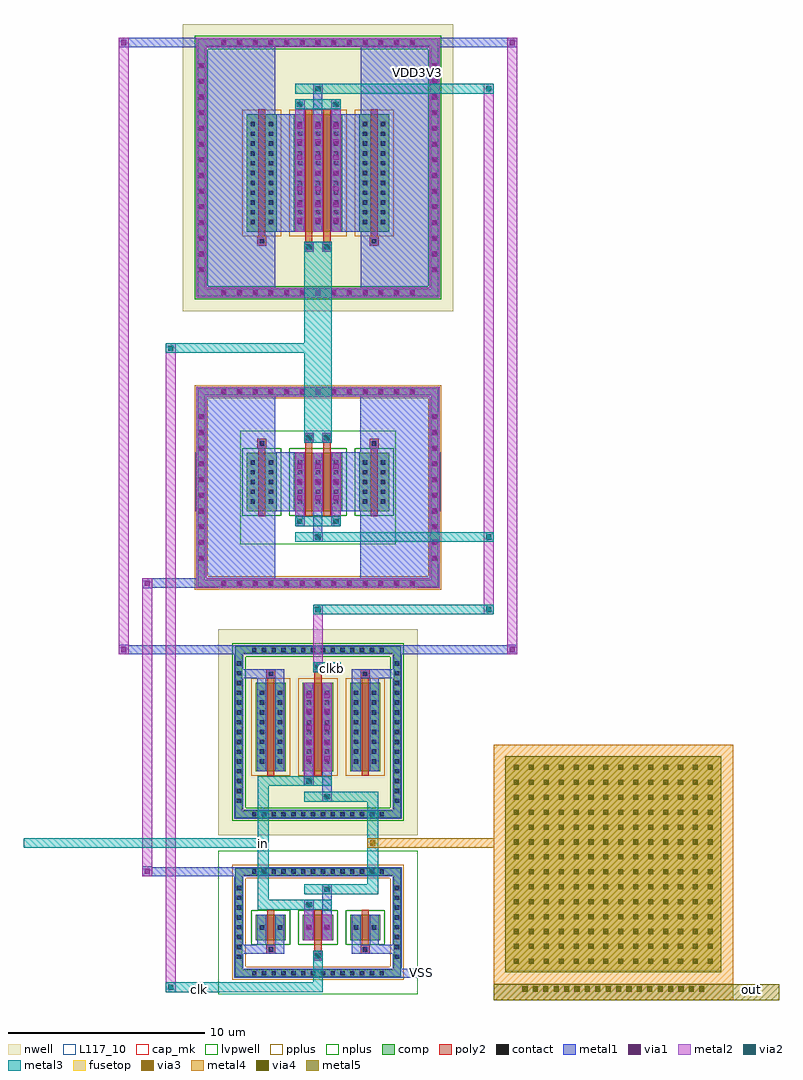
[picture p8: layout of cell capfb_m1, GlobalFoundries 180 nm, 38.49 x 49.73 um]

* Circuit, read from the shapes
.subckt capfb_m1 VDD3V3 VSS clk clkb in out
XM1 VSS VSS VSS VSS nfet_03v3 w=3u l=0.36u m=2
XM2 VSS VSS VSS VSS nfet_03v3 w=1.3u l=0.36u m=2
XM3 clkb clk VSS VSS nfet_03v3 w=3u l=0.36u m=2
XM4 out clk in VSS nfet_03v3 w=1.3u l=0.36u
XM5 VDD3V3 VDD3V3 VDD3V3 VDD3V3 pfet_03v3 w=6u l=0.36u m=2
XM6 VDD3V3 VDD3V3 VDD3V3 VDD3V3 pfet_03v3 w=4.5u l=0.36u m=2
XM7 clkb clk VDD3V3 VDD3V3 pfet_03v3 w=6u l=0.36u m=2
XM8 out clkb in VDD3V3 pfet_03v3 w=4.5u l=0.36u
XC9 n1 out cap_mim_2f0fF c_width=11u c_length=11u
.ends

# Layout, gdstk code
from math import pi, radians
import gdstk
lib = gdstk.Library(unit=1e-6, precision=5e-09)
def R(c, l, rs):  # rectangles x0, y0, x1, y1
    for r in rs: c.add(gdstk.rectangle(r[:2], r[2:], *l))
def A(c, l, x, y, w, h, nx, ny, dx, dy):  # array of equal rectangles
    R(c, l, [(x+i*dx, y+j*dy, x+i*dx+w, y+j*dy+h) for i in range(nx) for j in range(ny)])
def P(c, l, *ps):  # polygons
    for p in ps: c.add(gdstk.Polygon(p, *l))
nwell = (21, 0)
comp = (22, 0)
poly2 = (30, 0)
pplus = (31, 0)
nplus = (32, 0)
contact = (33, 0)
metal1 = (34, 0)
via1 = (35, 0)
metal2 = (36, 0)
via2 = (38, 0)
via3 = (40, 0)
via4 = (41, 0)
metal3 = (42, 0)
metal4 = (46, 0)
fusetop = (75, 0)
metal5 = (81, 0)
cap_mk = (117, 5)
L117_10 = (117, 10)
lvpwell = (204, 0)

unnamed_2a73851a_1_2 = lib.new_cell('Unnamed_2a73851a$1$2')
R(unnamed_2a73851a_1_2, nwell, [(-2.32,-4.395,2.32,4.395)])
R(unnamed_2a73851a_1_2, comp, [(-1.97,-3.275,-0.45,2.725), (0.41,-3.275,1.97,2.725)])
R(unnamed_2a73851a_1_2, poly2, [(0.96,-4.275,1.42,-3.815), (1.01,-4.225,1.37,-3.865), (-1.44,-3.975,-0.98,-3.515), (-1.39,-3.925,-1.03,-3.565), (1.01,-3.815,1.37,-3.515), (-1.39,-3.515,-1.03,2.965), (1.01,-3.515,1.37,2.965)])
R(unnamed_2a73851a_1_2, pplus, [(-2.2,-3.505,-0.22,2.955), (0.18,-3.505,2.2,2.955)])
A(unnamed_2a73851a_1_2, contact, -1.78, -2.885, 0.22, 0.22, 1, 11, 0, 0.5)
A(unnamed_2a73851a_1_2, contact, -0.86, -2.885, 0.22, 0.22, 1, 11, 0, 0.5)
A(unnamed_2a73851a_1_2, contact, 0.62, -2.885, 0.22, 0.22, 1, 11, 0, 0.5)
A(unnamed_2a73851a_1_2, contact, 1.54, -2.885, 0.22, 0.22, 1, 11, 0, 0.5)
R(unnamed_2a73851a_1_2, contact, [(1.08,-4.155,1.3,-3.935), (-1.32,-3.855,-1.1,-3.635)])
A(unnamed_2a73851a_1_2, metal1, -1.9, -3.975, 0.46, 0.46, 3, 1, 0.46, 0)
A(unnamed_2a73851a_1_2, metal1, -1.9, -3.005, 0.46, 0.46, 1, 11, 0, 0.5)
A(unnamed_2a73851a_1_2, metal1, -0.98, -3.005, 0.46, 0.46, 1, 11, 0, 0.5)
A(unnamed_2a73851a_1_2, metal1, 0.5, -3.005, 0.46, 0.46, 1, 11, 0, 0.5)
A(unnamed_2a73851a_1_2, metal1, 1.42, -3.005, 0.46, 0.46, 1, 11, 0, 0.5)
A(unnamed_2a73851a_1_2, metal1, 0.48, -2.925, 0.5, 0.5, 1, 7, 0, 0.8)
A(unnamed_2a73851a_1_2, metal1, 1.4, -2.925, 0.5, 0.5, 1, 7, 0, 0.8)
R(unnamed_2a73851a_1_2, metal1, [(0.96,-4.275,1.42,-3.815), (0.96,-4.275,1.42,-3.815), (-1.9,-3.975,-1.44,-3.275), (-0.98,-3.975,-0.52,-3.275), (-1.9,-3.275,-1.44,2.725), (-0.98,-3.275,-0.52,2.725), (0.5,-3.275,0.96,2.725), (1.42,-3.275,1.88,2.725), (0.48,-2.925,0.98,2.375), (1.4,-2.925,1.9,2.375), (0.5,2.725,0.96,3.475), (1.42,2.725,1.88,4.275), (0.48,2.975,0.98,3.475), (1.4,3.775,1.9,4.275)])
A(unnamed_2a73851a_1_2, via1, 0.6, -2.805, 0.26, 0.26, 1, 7, 0, 0.8)
A(unnamed_2a73851a_1_2, via1, 1.52, -2.805, 0.26, 0.26, 1, 7, 0, 0.8)
R(unnamed_2a73851a_1_2, via1, [(0.6,3.095,0.86,3.355), (1.52,3.895,1.78,4.155)])
A(unnamed_2a73851a_1_2, metal2, 0.48, -2.925, 0.5, 0.5, 1, 7, 0, 0.8)
A(unnamed_2a73851a_1_2, metal2, 1.4, -2.925, 0.5, 0.5, 1, 7, 0, 0.8)
R(unnamed_2a73851a_1_2, metal2, [(0.48,-3.275,0.98,2.725), (1.4,-3.275,1.9,2.725), (0.48,2.975,0.98,3.475), (1.4,3.775,1.9,4.275)])
R(unnamed_2a73851a_1_2, via2, [(0.6,3.095,0.86,3.355), (1.52,3.895,1.78,4.155)])
R(unnamed_2a73851a_1_2, metal3, [(0.48,2.975,0.98,3.475), (0.48,2.975,1.9,3.475), (0.48,3.775,1.9,4.275), (1.4,3.775,1.9,4.275)])

unnamed_f1af8ef3_1_2 = lib.new_cell('Unnamed_f1af8ef3$1$2')
R(unnamed_f1af8ef3_1_2, nwell, [(-2.32,-4.395,2.32,4.395)])
R(unnamed_f1af8ef3_1_2, comp, [(-1.97,-3.275,-0.45,2.725), (0.41,-3.275,1.97,2.725)])
R(unnamed_f1af8ef3_1_2, poly2, [(0.96,-4.275,1.42,-3.815), (1.01,-4.225,1.37,-3.865), (-1.44,-3.975,-0.98,-3.515), (-1.39,-3.925,-1.03,-3.565), (1.01,-3.815,1.37,-3.515), (-1.39,-3.515,-1.03,2.965), (1.01,-3.515,1.37,2.965)])
R(unnamed_f1af8ef3_1_2, pplus, [(-2.2,-3.505,-0.22,2.955), (0.18,-3.505,2.2,2.955)])
A(unnamed_f1af8ef3_1_2, contact, -1.78, -2.885, 0.22, 0.22, 1, 11, 0, 0.5)
A(unnamed_f1af8ef3_1_2, contact, -0.86, -2.885, 0.22, 0.22, 1, 11, 0, 0.5)
A(unnamed_f1af8ef3_1_2, contact, 0.62, -2.885, 0.22, 0.22, 1, 11, 0, 0.5)
A(unnamed_f1af8ef3_1_2, contact, 1.54, -2.885, 0.22, 0.22, 1, 11, 0, 0.5)
R(unnamed_f1af8ef3_1_2, contact, [(1.08,-4.155,1.3,-3.935), (-1.32,-3.855,-1.1,-3.635)])
A(unnamed_f1af8ef3_1_2, metal1, -1.9, -3.975, 0.46, 0.46, 3, 1, 0.46, 0)
A(unnamed_f1af8ef3_1_2, metal1, -1.9, -3.005, 0.46, 0.46, 1, 11, 0, 0.5)
A(unnamed_f1af8ef3_1_2, metal1, -0.98, -3.005, 0.46, 0.46, 1, 11, 0, 0.5)
A(unnamed_f1af8ef3_1_2, metal1, 0.5, -3.005, 0.46, 0.46, 1, 11, 0, 0.5)
A(unnamed_f1af8ef3_1_2, metal1, 1.42, -3.005, 0.46, 0.46, 1, 11, 0, 0.5)
A(unnamed_f1af8ef3_1_2, metal1, 0.48, -2.925, 0.5, 0.5, 1, 7, 0, 0.8)
A(unnamed_f1af8ef3_1_2, metal1, 1.4, -2.925, 0.5, 0.5, 1, 7, 0, 0.8)
R(unnamed_f1af8ef3_1_2, metal1, [(0.96,-4.275,1.42,-3.815), (0.96,-4.275,1.42,-3.815), (-1.9,-3.975,-1.44,-3.275), (-0.98,-3.975,-0.52,-3.275), (-1.9,-3.275,-1.44,2.725), (-0.98,-3.275,-0.52,2.725), (0.5,-3.275,0.96,2.725), (1.42,-3.275,1.88,2.725), (0.48,-2.925,0.98,2.375), (1.4,-2.925,1.9,2.375), (0.5,2.725,0.96,3.475), (1.42,2.725,1.88,4.275), (0.48,2.975,0.98,3.475), (1.4,3.775,1.9,4.275)])
A(unnamed_f1af8ef3_1_2, via1, 0.6, -2.805, 0.26, 0.26, 1, 7, 0, 0.8)
A(unnamed_f1af8ef3_1_2, via1, 1.52, -2.805, 0.26, 0.26, 1, 7, 0, 0.8)
R(unnamed_f1af8ef3_1_2, via1, [(0.6,3.095,0.86,3.355), (1.52,3.895,1.78,4.155)])
A(unnamed_f1af8ef3_1_2, metal2, 0.48, -2.925, 0.5, 0.5, 1, 7, 0, 0.8)
A(unnamed_f1af8ef3_1_2, metal2, 1.4, -2.925, 0.5, 0.5, 1, 7, 0, 0.8)
R(unnamed_f1af8ef3_1_2, metal2, [(0.48,-3.275,0.98,2.725), (1.4,-3.275,1.9,2.725), (0.48,2.975,0.98,3.475), (1.4,3.775,1.9,4.275)])
R(unnamed_f1af8ef3_1_2, via2, [(0.6,3.095,0.86,3.355), (1.52,3.895,1.78,4.155)])
R(unnamed_f1af8ef3_1_2, metal3, [(0.48,2.975,0.98,3.475), (0.48,2.975,1.9,3.475), (0.48,3.775,1.9,4.275), (1.4,3.775,1.9,4.275)])

unnamed_ead98f9a_1_2 = lib.new_cell('Unnamed_ead98f9a$1$2')
R(unnamed_ead98f9a_1_2, comp, [(-1.97,-1.775,-0.45,1.225), (0.41,-1.775,1.97,1.225)])
R(unnamed_ead98f9a_1_2, poly2, [(0.96,-2.775,1.42,-2.315), (1.01,-2.725,1.37,-2.365), (-1.44,-2.475,-0.98,-2.015), (-1.39,-2.425,-1.03,-2.065), (1.01,-2.315,1.37,-2.015), (-1.39,-2.015,-1.03,1.465), (1.01,-2.015,1.37,1.465)])
R(unnamed_ead98f9a_1_2, nplus, [(-2.2,-2.005,-0.22,1.455), (0.18,-2.005,2.2,1.455)])
A(unnamed_ead98f9a_1_2, contact, -1.78, -1.385, 0.22, 0.22, 1, 5, 0, 0.5)
A(unnamed_ead98f9a_1_2, contact, -0.86, -1.385, 0.22, 0.22, 1, 5, 0, 0.5)
A(unnamed_ead98f9a_1_2, contact, 0.62, -1.385, 0.22, 0.22, 1, 5, 0, 0.5)
A(unnamed_ead98f9a_1_2, contact, 1.54, -1.385, 0.22, 0.22, 1, 5, 0, 0.5)
R(unnamed_ead98f9a_1_2, contact, [(1.08,-2.655,1.3,-2.435), (-1.32,-2.355,-1.1,-2.135)])
A(unnamed_ead98f9a_1_2, metal1, -1.9, -2.475, 0.46, 0.46, 3, 1, 0.46, 0)
A(unnamed_ead98f9a_1_2, metal1, -1.9, -1.505, 0.46, 0.46, 1, 5, 0, 0.5)
A(unnamed_ead98f9a_1_2, metal1, -0.98, -1.505, 0.46, 0.46, 1, 5, 0, 0.5)
A(unnamed_ead98f9a_1_2, metal1, 0.5, -1.505, 0.46, 0.46, 1, 5, 0, 0.5)
A(unnamed_ead98f9a_1_2, metal1, 1.42, -1.505, 0.46, 0.46, 1, 5, 0, 0.5)
A(unnamed_ead98f9a_1_2, metal1, 0.48, -1.325, 0.5, 0.5, 1, 3, 0, 0.8)
A(unnamed_ead98f9a_1_2, metal1, 1.4, -1.325, 0.5, 0.5, 1, 3, 0, 0.8)
R(unnamed_ead98f9a_1_2, metal1, [(0.96,-2.775,1.42,-2.315), (0.96,-2.775,1.42,-2.315), (-1.9,-2.475,-1.44,-1.775), (-0.98,-2.475,-0.52,-1.775), (-1.9,-1.775,-1.44,1.225), (-0.98,-1.775,-0.52,1.225), (0.5,-1.775,0.96,1.225), (1.42,-1.775,1.88,1.225), (0.48,-1.325,0.98,0.775), (1.4,-1.325,1.9,0.775), (0.5,1.225,0.96,1.975), (1.42,1.225,1.88,2.775), (0.48,1.475,0.98,1.975), (1.4,2.275,1.9,2.775)])
A(unnamed_ead98f9a_1_2, via1, 0.6, -1.205, 0.26, 0.26, 1, 3, 0, 0.8)
A(unnamed_ead98f9a_1_2, via1, 1.52, -1.205, 0.26, 0.26, 1, 3, 0, 0.8)
R(unnamed_ead98f9a_1_2, via1, [(0.6,1.595,0.86,1.855), (1.52,2.395,1.78,2.655)])
A(unnamed_ead98f9a_1_2, metal2, 0.48, -1.325, 0.5, 0.5, 1, 3, 0, 0.8)
A(unnamed_ead98f9a_1_2, metal2, 1.4, -1.325, 0.5, 0.5, 1, 3, 0, 0.8)
R(unnamed_ead98f9a_1_2, metal2, [(0.48,-1.775,0.98,1.225), (1.4,-1.775,1.9,1.225), (0.48,1.475,0.98,1.975), (1.4,2.275,1.9,2.775)])
R(unnamed_ead98f9a_1_2, via2, [(0.6,1.595,0.86,1.855), (1.52,2.395,1.78,2.655)])
R(unnamed_ead98f9a_1_2, metal3, [(0.48,1.475,0.98,1.975), (0.48,1.475,1.9,1.975), (0.48,2.275,1.9,2.775), (1.4,2.275,1.9,2.775)])
R(unnamed_ead98f9a_1_2, lvpwell, [(-2.32,-2.895,2.32,2.895)])

unnamed_11e8e328_1_2 = lib.new_cell('Unnamed_11e8e328$1$2')
R(unnamed_11e8e328_1_2, comp, [(-1.97,-1.775,-0.45,1.225), (0.41,-1.775,1.97,1.225)])
R(unnamed_11e8e328_1_2, poly2, [(0.96,-2.775,1.42,-2.315), (1.01,-2.725,1.37,-2.365), (-1.44,-2.475,-0.98,-2.015), (-1.39,-2.425,-1.03,-2.065), (1.01,-2.315,1.37,-2.015), (-1.39,-2.015,-1.03,1.465), (1.01,-2.015,1.37,1.465)])
R(unnamed_11e8e328_1_2, nplus, [(-2.2,-2.005,-0.22,1.455), (0.18,-2.005,2.2,1.455)])
A(unnamed_11e8e328_1_2, contact, -1.78, -1.385, 0.22, 0.22, 1, 5, 0, 0.5)
A(unnamed_11e8e328_1_2, contact, -0.86, -1.385, 0.22, 0.22, 1, 5, 0, 0.5)
A(unnamed_11e8e328_1_2, contact, 0.62, -1.385, 0.22, 0.22, 1, 5, 0, 0.5)
A(unnamed_11e8e328_1_2, contact, 1.54, -1.385, 0.22, 0.22, 1, 5, 0, 0.5)
R(unnamed_11e8e328_1_2, contact, [(1.08,-2.655,1.3,-2.435), (-1.32,-2.355,-1.1,-2.135)])
A(unnamed_11e8e328_1_2, metal1, -1.9, -2.475, 0.46, 0.46, 3, 1, 0.46, 0)
A(unnamed_11e8e328_1_2, metal1, -1.9, -1.505, 0.46, 0.46, 1, 5, 0, 0.5)
A(unnamed_11e8e328_1_2, metal1, -0.98, -1.505, 0.46, 0.46, 1, 5, 0, 0.5)
A(unnamed_11e8e328_1_2, metal1, 0.5, -1.505, 0.46, 0.46, 1, 5, 0, 0.5)
A(unnamed_11e8e328_1_2, metal1, 1.42, -1.505, 0.46, 0.46, 1, 5, 0, 0.5)
A(unnamed_11e8e328_1_2, metal1, 0.48, -1.325, 0.5, 0.5, 1, 3, 0, 0.8)
A(unnamed_11e8e328_1_2, metal1, 1.4, -1.325, 0.5, 0.5, 1, 3, 0, 0.8)
R(unnamed_11e8e328_1_2, metal1, [(0.96,-2.775,1.42,-2.315), (0.96,-2.775,1.42,-2.315), (-1.9,-2.475,-1.44,-1.775), (-0.98,-2.475,-0.52,-1.775), (-1.9,-1.775,-1.44,1.225), (-0.98,-1.775,-0.52,1.225), (0.5,-1.775,0.96,1.225), (1.42,-1.775,1.88,1.225), (0.48,-1.325,0.98,0.775), (1.4,-1.325,1.9,0.775), (0.5,1.225,0.96,1.975), (1.42,1.225,1.88,2.775), (0.48,1.475,0.98,1.975), (1.4,2.275,1.9,2.775)])
A(unnamed_11e8e328_1_2, via1, 0.6, -1.205, 0.26, 0.26, 1, 3, 0, 0.8)
A(unnamed_11e8e328_1_2, via1, 1.52, -1.205, 0.26, 0.26, 1, 3, 0, 0.8)
R(unnamed_11e8e328_1_2, via1, [(0.6,1.595,0.86,1.855), (1.52,2.395,1.78,2.655)])
A(unnamed_11e8e328_1_2, metal2, 0.48, -1.325, 0.5, 0.5, 1, 3, 0, 0.8)
A(unnamed_11e8e328_1_2, metal2, 1.4, -1.325, 0.5, 0.5, 1, 3, 0, 0.8)
R(unnamed_11e8e328_1_2, metal2, [(0.48,-1.775,0.98,1.225), (1.4,-1.775,1.9,1.225), (0.48,1.475,0.98,1.975), (1.4,2.275,1.9,2.775)])
R(unnamed_11e8e328_1_2, via2, [(0.6,1.595,0.86,1.855), (1.52,2.395,1.78,2.655)])
R(unnamed_11e8e328_1_2, metal3, [(0.48,1.475,0.98,1.975), (0.48,1.475,1.9,1.975), (0.48,2.275,1.9,2.775), (1.4,2.275,1.9,2.775)])
R(unnamed_11e8e328_1_2, lvpwell, [(-2.32,-2.895,2.32,2.895)])

unnamed_a559eeb2_1_1_2 = lib.new_cell('Unnamed_a559eeb2$1$1$2')
A(unnamed_a559eeb2_1_1_2, comp, -4.98, -6.555, 0.36, 0.36, 13, 2, 0.8, 12.75)
A(unnamed_a559eeb2_1_1_2, comp, -6.13, -5.38, 0.36, 0.36, 1, 14, 0, 0.8)
A(unnamed_a559eeb2_1_1_2, comp, 5.77, -5.38, 0.36, 0.36, 1, 14, 0, 0.8)
R(unnamed_a559eeb2_1_1_2, comp, [(-4.98,-6.555,4.98,-6.195), (-6.13,-5.38,-5.77,5.38), (5.77,-5.38,6.13,5.38), (-4.98,6.195,4.98,6.555)])
P(unnamed_a559eeb2_1_1_2, comp, [(-6.13,-6.555),(-6.13,-6.195),(-5.77,-6.195),(5.77,-6.195),(5.77,6.195),(-5.77,6.195),(-5.77,-6.195),(-6.13,-6.195),(-6.13,6.555),(6.13,6.555),(6.13,-6.555)])
P(unnamed_a559eeb2_1_1_2, nplus, [(-6.29,-6.715),(-6.29,-6.035),(-5.61,-6.035),(5.61,-6.035),(5.61,6.035),(-5.61,6.035),(-5.61,-6.035),(-6.29,-6.035),(-6.29,6.715),(6.29,6.715),(6.29,-6.715)])
A(unnamed_a559eeb2_1_1_2, contact, -4.91, -6.485, 0.22, 0.22, 13, 2, 0.8, 12.75)
A(unnamed_a559eeb2_1_1_2, contact, -6.06, -5.31, 0.22, 0.22, 1, 14, 0, 0.8)
A(unnamed_a559eeb2_1_1_2, contact, 5.84, -5.31, 0.22, 0.22, 1, 14, 0, 0.8)
A(unnamed_a559eeb2_1_1_2, metal1, -5.05, -6.625, 0.5, 0.5, 13, 2, 0.8, 12.75)
A(unnamed_a559eeb2_1_1_2, metal1, -6.2, -5.45, 0.5, 0.5, 1, 14, 0, 0.8)
A(unnamed_a559eeb2_1_1_2, metal1, 5.7, -5.45, 0.5, 0.5, 1, 14, 0, 0.8)
R(unnamed_a559eeb2_1_1_2, metal1, [(-5.05,-6.625,5.05,-6.125), (-6.2,-5.45,-5.7,5.45), (5.7,-5.45,6.2,5.45), (-5.05,6.125,5.05,6.625)])
A(unnamed_a559eeb2_1_1_2, via1, -4.93, -6.505, 0.26, 0.26, 13, 2, 0.8, 12.75)
A(unnamed_a559eeb2_1_1_2, via1, -6.08, -5.33, 0.26, 0.26, 1, 14, 0, 0.8)
A(unnamed_a559eeb2_1_1_2, via1, 5.82, -5.33, 0.26, 0.26, 1, 14, 0, 0.8)
A(unnamed_a559eeb2_1_1_2, metal2, -5.05, -6.625, 0.5, 0.5, 13, 2, 0.8, 12.75)
A(unnamed_a559eeb2_1_1_2, metal2, -6.2, -5.45, 0.5, 0.5, 1, 14, 0, 0.8)
A(unnamed_a559eeb2_1_1_2, metal2, 5.7, -5.45, 0.5, 0.5, 1, 14, 0, 0.8)
R(unnamed_a559eeb2_1_1_2, metal2, [(-6.2,-6.625,-5.77,-6.125), (-6.2,-6.625,-5.7,-6.195), (-5.77,-6.625,5.77,-6.125), (5.7,-6.625,6.2,-6.195), (5.77,-6.625,6.2,-6.125), (-6.2,-6.195,-5.7,6.195), (5.7,-6.195,6.2,6.195), (-6.2,6.125,-5.77,6.625), (-5.77,6.125,5.77,6.625), (5.77,6.125,6.2,6.625), (-6.2,6.195,-5.7,6.625), (5.7,6.195,6.2,6.625)])

unnamed_ba294454_1_1_2 = lib.new_cell('Unnamed_ba294454$1$1$2')
A(unnamed_ba294454_1_1_2, comp, -4.98, -5.055, 0.36, 0.36, 13, 2, 0.8, 9.75)
A(unnamed_ba294454_1_1_2, comp, -6.13, -3.78, 0.36, 0.36, 1, 10, 0, 0.8)
A(unnamed_ba294454_1_1_2, comp, 5.77, -3.78, 0.36, 0.36, 1, 10, 0, 0.8)
R(unnamed_ba294454_1_1_2, comp, [(-4.98,-5.055,4.98,-4.695), (-6.13,-3.78,-5.77,3.78), (5.77,-3.78,6.13,3.78), (-4.98,4.695,4.98,5.055)])
P(unnamed_ba294454_1_1_2, comp, [(-6.13,-5.055),(-6.13,-4.695),(-5.77,-4.695),(5.77,-4.695),(5.77,4.695),(-5.77,4.695),(-5.77,-4.695),(-6.13,-4.695),(-6.13,5.055),(6.13,5.055),(6.13,-5.055)])
P(unnamed_ba294454_1_1_2, pplus, [(-6.29,-5.215),(-6.29,-4.535),(-5.61,-4.535),(5.61,-4.535),(5.61,4.535),(-5.61,4.535),(-5.61,-4.535),(-6.29,-4.535),(-6.29,5.215),(6.29,5.215),(6.29,-5.215)])
A(unnamed_ba294454_1_1_2, contact, -4.91, -4.985, 0.22, 0.22, 13, 2, 0.8, 9.75)
A(unnamed_ba294454_1_1_2, contact, -6.06, -3.71, 0.22, 0.22, 1, 10, 0, 0.8)
A(unnamed_ba294454_1_1_2, contact, 5.84, -3.71, 0.22, 0.22, 1, 10, 0, 0.8)
A(unnamed_ba294454_1_1_2, metal1, -5.05, -5.125, 0.5, 0.5, 13, 2, 0.8, 9.75)
A(unnamed_ba294454_1_1_2, metal1, -6.2, -3.85, 0.5, 0.5, 1, 10, 0, 0.8)
A(unnamed_ba294454_1_1_2, metal1, 5.7, -3.85, 0.5, 0.5, 1, 10, 0, 0.8)
R(unnamed_ba294454_1_1_2, metal1, [(-5.05,-5.125,5.05,-4.625), (-6.2,-3.85,-5.7,3.85), (5.7,-3.85,6.2,3.85), (-5.05,4.625,5.05,5.125)])
A(unnamed_ba294454_1_1_2, via1, -4.93, -5.005, 0.26, 0.26, 13, 2, 0.8, 9.75)
A(unnamed_ba294454_1_1_2, via1, -6.08, -3.73, 0.26, 0.26, 1, 10, 0, 0.8)
A(unnamed_ba294454_1_1_2, via1, 5.82, -3.73, 0.26, 0.26, 1, 10, 0, 0.8)
A(unnamed_ba294454_1_1_2, metal2, -5.05, -5.125, 0.5, 0.5, 13, 2, 0.8, 9.75)
A(unnamed_ba294454_1_1_2, metal2, -6.2, -3.85, 0.5, 0.5, 1, 10, 0, 0.8)
A(unnamed_ba294454_1_1_2, metal2, 5.7, -3.85, 0.5, 0.5, 1, 10, 0, 0.8)
R(unnamed_ba294454_1_1_2, metal2, [(-6.2,-5.125,-5.77,-4.625), (-6.2,-5.125,-5.7,-4.695), (-5.77,-5.125,5.77,-4.625), (5.7,-5.125,6.2,-4.695), (5.77,-5.125,6.2,-4.625), (-6.2,-4.695,-5.7,4.695), (5.7,-4.695,6.2,4.695), (-6.2,4.625,-5.77,5.125), (-5.77,4.625,5.77,5.125), (5.77,4.625,6.2,5.125), (-6.2,4.695,-5.7,5.125), (5.7,4.695,6.2,5.125)])

straight_route_bff6138e_ = lib.new_cell('straight_route_bff6138e$4$1$2')
P(straight_route_bff6138e_, metal1, [(0.96,-4.275),(0.96,-4.275),(1.42,-4.275),(1.42,-4.275)])

c_route_7e4f65a3_1_1_2 = lib.new_cell('c_route_7e4f65a3$1$1$2')
R(c_route_7e4f65a3_1_1_2, metal2, [(10.1,-19.065,10.6,-18.565), (10.1,-19.065,10.6,4.275), (10.1,3.775,10.6,4.275)])
P(c_route_7e4f65a3_1_1_2, metal2, [(10.6,-19.065),(10.6,-18.565),(10.6,-18.565),(10.6,-19.065)],
  [(10.6,3.775),(10.6,4.275),(10.6,4.275),(10.6,3.775)])
R(c_route_7e4f65a3_1_1_2, via2, [(10.22,-18.945,10.48,-18.685), (10.22,3.895,10.48,4.155)])
R(c_route_7e4f65a3_1_1_2, metal3, [(1.9,-19.065,10.6,-18.565), (10.1,-19.065,10.6,-18.565), (1.9,3.775,10.6,4.275), (10.1,3.775,10.6,4.275)])

straight_route_e266139e_ = lib.new_cell('straight_route_e266139e$2$1$2')
R(straight_route_e266139e_, metal1, [(1.86,-14.015,2.36,-13.515), (1.86,-4.275,2.36,-3.775)])
R(straight_route_e266139e_, via1, [(1.98,-13.895,2.24,-13.635), (1.98,-4.155,2.24,-3.895)])
R(straight_route_e266139e_, metal2, [(1.86,-14.015,2.36,-13.515), (1.86,-4.275,2.36,-3.775)])
R(straight_route_e266139e_, via2, [(1.98,-13.895,2.24,-13.635), (1.98,-4.155,2.24,-3.895)])
R(straight_route_e266139e_, metal3, [(1.86,-14.015,2.36,-13.515), (1.88,-13.515,2.34,-4.275), (1.86,-4.275,2.36,-3.775)])

straight_route_f31ed6b7_ = lib.new_cell('straight_route_f31ed6b7$2$1$2')
R(straight_route_f31ed6b7_, metal1, [(0.94,-14.015,1.44,-13.515), (0.94,-4.275,1.44,-3.775)])
R(straight_route_f31ed6b7_, via1, [(1.06,-13.895,1.32,-13.635), (1.06,-4.155,1.32,-3.895)])
R(straight_route_f31ed6b7_, metal2, [(0.94,-14.015,1.44,-13.515), (0.94,-4.275,1.44,-3.775)])
R(straight_route_f31ed6b7_, via2, [(1.06,-13.895,1.32,-13.635), (1.06,-4.155,1.32,-3.895)])
R(straight_route_f31ed6b7_, metal3, [(0.94,-14.015,1.44,-13.515), (0.96,-13.515,1.42,-4.275), (0.94,-4.275,1.44,-3.775)])

unnamed_5acb1a93_1_2 = lib.new_cell('Unnamed_5acb1a93$1$2')
R(unnamed_5acb1a93_1_2, nwell, [(-4.49,-4.645,4.49,4.645)])
A(unnamed_5acb1a93_1_2, comp, -3.43, -4.365, 0.36, 0.36, 14, 2, 0.5, 8.37)
A(unnamed_5acb1a93_1_2, comp, -4.21, -3.68, 0.36, 0.36, 1, 15, 0, 0.5)
A(unnamed_5acb1a93_1_2, comp, 3.85, -3.68, 0.36, 0.36, 1, 15, 0, 0.5)
R(unnamed_5acb1a93_1_2, comp, [(-3.43,-4.365,3.43,-4.005), (-4.21,-3.68,-3.85,3.68), (3.85,-3.68,4.21,3.68), (-3.16,-2.505,-1.64,1.995), (-0.78,-2.505,0.78,1.995), (1.64,-2.505,3.16,1.995), (-3.43,4.005,3.43,4.365)])
P(unnamed_5acb1a93_1_2, comp, [(-4.21,-4.365),(-4.21,-4.005),(-3.85,-4.005),(3.85,-4.005),(3.85,4.005),(-3.85,4.005),(-3.85,-4.005),(-4.21,-4.005),(-4.21,4.365),(4.21,4.365),(4.21,-4.365)])
A(unnamed_5acb1a93_1_2, poly2, -2.58, -2.745, 0.36, 4.98, 3, 1, 2.4, 0)
R(unnamed_5acb1a93_1_2, poly2, [(-0.25,-3.545,0.25,-3.045), (-0.18,-3.475,0.18,-3.115), (-2.63,-3.205,-2.17,-2.745), (2.17,-3.205,2.63,-2.745), (-2.58,-3.155,-2.22,-2.795), (2.22,-3.155,2.58,-2.795), (-0.18,-3.045,0.18,-2.745)])
R(unnamed_5acb1a93_1_2, pplus, [(-3.39,-2.735,-1.41,2.225), (-1.01,-2.735,1.01,2.225), (1.41,-2.735,3.39,2.225)])
P(unnamed_5acb1a93_1_2, nplus, [(-4.37,-4.525),(-4.37,-3.845),(-3.69,-3.845),(3.69,-3.845),(3.69,3.845),(-3.69,3.845),(-3.69,-3.845),(-4.37,-3.845),(-4.37,4.525),(4.37,4.525),(4.37,-4.525)])
A(unnamed_5acb1a93_1_2, contact, -3.36, -4.295, 0.22, 0.22, 14, 2, 0.5, 8.37)
A(unnamed_5acb1a93_1_2, contact, -4.14, -3.61, 0.22, 0.22, 1, 15, 0, 0.5)
A(unnamed_5acb1a93_1_2, contact, 3.92, -3.61, 0.22, 0.22, 1, 15, 0, 0.5)
A(unnamed_5acb1a93_1_2, contact, -2.97, -2.115, 0.22, 0.22, 1, 8, 0, 0.5)
A(unnamed_5acb1a93_1_2, contact, -2.05, -2.115, 0.22, 0.22, 1, 8, 0, 0.5)
A(unnamed_5acb1a93_1_2, contact, -0.57, -2.115, 0.22, 0.22, 1, 8, 0, 0.5)
A(unnamed_5acb1a93_1_2, contact, 0.35, -2.115, 0.22, 0.22, 1, 8, 0, 0.5)
A(unnamed_5acb1a93_1_2, contact, 1.83, -2.115, 0.22, 0.22, 1, 8, 0, 0.5)
A(unnamed_5acb1a93_1_2, contact, 2.75, -2.115, 0.22, 0.22, 1, 8, 0, 0.5)
R(unnamed_5acb1a93_1_2, contact, [(-0.11,-3.405,0.11,-3.185), (-2.51,-3.085,-2.29,-2.865), (2.29,-3.085,2.51,-2.865)])
A(unnamed_5acb1a93_1_2, metal1, -3.48, -4.415, 0.46, 0.46, 14, 2, 0.5, 8.37)
A(unnamed_5acb1a93_1_2, metal1, -4.26, -3.73, 0.46, 0.46, 1, 15, 0, 0.5)
A(unnamed_5acb1a93_1_2, metal1, 3.8, -3.73, 0.46, 0.46, 1, 15, 0, 0.5)
A(unnamed_5acb1a93_1_2, metal1, -3.09, -3.205, 0.46, 0.46, 3, 1, 0.46, 0)
A(unnamed_5acb1a93_1_2, metal1, 1.71, -3.205, 0.46, 0.46, 3, 1, 0.46, 0)
A(unnamed_5acb1a93_1_2, metal1, -3.09, -2.235, 0.46, 0.46, 1, 8, 0, 0.5)
A(unnamed_5acb1a93_1_2, metal1, -2.17, -2.235, 0.46, 0.46, 1, 8, 0, 0.5)
A(unnamed_5acb1a93_1_2, metal1, -0.69, -2.235, 0.46, 0.46, 1, 8, 0, 0.5)
A(unnamed_5acb1a93_1_2, metal1, 0.23, -2.235, 0.46, 0.46, 1, 8, 0, 0.5)
A(unnamed_5acb1a93_1_2, metal1, 1.71, -2.235, 0.46, 0.46, 1, 8, 0, 0.5)
A(unnamed_5acb1a93_1_2, metal1, 2.63, -2.235, 0.46, 0.46, 1, 8, 0, 0.5)
A(unnamed_5acb1a93_1_2, metal1, -0.71, -2.105, 0.5, 0.5, 1, 5, 0, 0.8)
A(unnamed_5acb1a93_1_2, metal1, 0.21, -2.105, 0.5, 0.5, 1, 5, 0, 0.8)
R(unnamed_5acb1a93_1_2, metal1, [(-4.26,-4.415,-3.85,-3.955), (-4.26,-4.415,-3.8,-4.005), (-3.85,-4.415,3.85,-3.955), (3.8,-4.415,4.26,-4.005), (3.85,-4.415,4.26,-3.955), (-4.26,-4.005,-3.8,4.005), (3.8,-4.005,4.26,4.005), (-0.25,-3.545,0.25,-3.045), (-4.26,-3.205,-2.63,-2.745), (-3.09,-3.205,-2.63,-2.505), (-2.17,-3.205,-1.71,-2.505), (1.71,-3.205,2.17,-2.505), (2.17,-3.205,4.26,-2.745), (2.63,-3.205,3.09,-2.505), (-3.09,-2.505,-2.63,1.995), (-2.17,-2.505,-1.71,1.995), (-0.69,-2.505,-0.23,1.995), (0.23,-2.505,0.69,1.995), (1.71,-2.505,2.17,1.995), (2.63,-2.505,3.09,1.995), (-0.71,-2.105,-0.21,1.595), (0.21,-2.105,0.71,1.595), (-0.69,1.995,-0.23,2.745), (0.23,1.995,0.69,3.545), (-0.71,2.245,-0.21,2.745), (0.21,3.045,0.71,3.545), (-4.26,3.955,-3.85,4.415), (-3.85,3.955,3.85,4.415), (3.85,3.955,4.26,4.415), (-4.26,4.005,-3.8,4.415), (3.8,4.005,4.26,4.415)])
A(unnamed_5acb1a93_1_2, via1, -0.59, -1.985, 0.26, 0.26, 1, 5, 0, 0.8)
A(unnamed_5acb1a93_1_2, via1, 0.33, -1.985, 0.26, 0.26, 1, 5, 0, 0.8)
R(unnamed_5acb1a93_1_2, via1, [(-0.13,-3.425,0.13,-3.165), (-0.59,2.365,-0.33,2.625), (0.33,3.165,0.59,3.425)])
A(unnamed_5acb1a93_1_2, metal2, -0.71, -2.105, 0.5, 0.5, 1, 5, 0, 0.8)
A(unnamed_5acb1a93_1_2, metal2, 0.21, -2.105, 0.5, 0.5, 1, 5, 0, 0.8)
R(unnamed_5acb1a93_1_2, metal2, [(-0.25,-3.545,0.25,-3.045), (-0.71,-2.505,-0.21,1.995), (0.21,-2.505,0.71,1.995), (-0.71,2.245,-0.21,2.745), (0.21,3.045,0.71,3.545)])
R(unnamed_5acb1a93_1_2, via2, [(-0.13,-3.425,0.13,-3.165), (-0.59,2.365,-0.33,2.625), (0.33,3.165,0.59,3.425)])
R(unnamed_5acb1a93_1_2, metal3, [(-0.25,-3.545,0.25,-3.045), (-0.25,-3.545,0.25,-3.045), (-0.71,2.245,-0.21,2.745), (-0.71,2.245,0.71,2.745), (-0.71,3.045,0.71,3.545), (0.21,3.045,0.71,3.545)])

unnamed_6f5da526_1_2 = lib.new_cell('Unnamed_6f5da526$1$2')
A(unnamed_6f5da526_1_2, comp, -3.43, -2.77, 0.36, 0.36, 14, 2, 0.5, 5.18)
A(unnamed_6f5da526_1_2, comp, -4.21, -1.93, 0.36, 0.36, 1, 8, 0, 0.5)
A(unnamed_6f5da526_1_2, comp, 3.85, -1.93, 0.36, 0.36, 1, 8, 0, 0.5)
R(unnamed_6f5da526_1_2, comp, [(-3.43,-2.77,3.43,-2.41), (-4.21,-1.93,-3.85,1.93), (3.85,-1.93,4.21,1.93), (-3.16,-0.905,-1.64,0.395), (-0.78,-0.905,0.78,0.395), (1.64,-0.905,3.16,0.395), (-3.43,2.41,3.43,2.77)])
P(unnamed_6f5da526_1_2, comp, [(-4.21,-2.77),(-4.21,-2.41),(-3.85,-2.41),(3.85,-2.41),(3.85,2.41),(-3.85,2.41),(-3.85,-2.41),(-4.21,-2.41),(-4.21,2.77),(4.21,2.77),(4.21,-2.77)])
A(unnamed_6f5da526_1_2, poly2, -2.58, -1.145, 0.36, 1.78, 3, 1, 2.4, 0)
R(unnamed_6f5da526_1_2, poly2, [(-0.25,-1.945,0.25,-1.445), (-0.18,-1.875,0.18,-1.515), (-2.63,-1.605,-2.17,-1.145), (2.17,-1.605,2.63,-1.145), (-2.58,-1.555,-2.22,-1.195), (2.22,-1.555,2.58,-1.195), (-0.18,-1.445,0.18,-1.145)])
P(unnamed_6f5da526_1_2, pplus, [(-4.37,-2.93),(-4.37,-2.25),(-3.69,-2.25),(3.69,-2.25),(3.69,2.25),(-3.69,2.25),(-3.69,-2.25),(-4.37,-2.25),(-4.37,2.93),(4.37,2.93),(4.37,-2.93)])
R(unnamed_6f5da526_1_2, nplus, [(-3.39,-1.135,-1.41,0.625), (-1.01,-1.135,1.01,0.625), (1.41,-1.135,3.39,0.625)])
A(unnamed_6f5da526_1_2, contact, -3.36, -2.7, 0.22, 0.22, 14, 2, 0.5, 5.18)
A(unnamed_6f5da526_1_2, contact, -4.14, -1.86, 0.22, 0.22, 1, 8, 0, 0.5)
A(unnamed_6f5da526_1_2, contact, 3.92, -1.86, 0.22, 0.22, 1, 8, 0, 0.5)
R(unnamed_6f5da526_1_2, contact, [(-0.11,-1.805,0.11,-1.585), (-2.51,-1.485,-2.29,-1.265), (2.29,-1.485,2.51,-1.265), (-2.97,-0.365,-2.75,-0.145), (-2.05,-0.365,-1.83,-0.145), (-0.57,-0.365,-0.35,-0.145), (0.35,-0.365,0.57,-0.145), (1.83,-0.365,2.05,-0.145), (2.75,-0.365,2.97,-0.145)])
A(unnamed_6f5da526_1_2, metal1, -3.48, -2.82, 0.46, 0.46, 14, 2, 0.5, 5.18)
A(unnamed_6f5da526_1_2, metal1, -4.26, -1.98, 0.46, 0.46, 1, 8, 0, 0.5)
A(unnamed_6f5da526_1_2, metal1, 3.8, -1.98, 0.46, 0.46, 1, 8, 0, 0.5)
A(unnamed_6f5da526_1_2, metal1, -3.09, -1.605, 0.46, 0.46, 3, 1, 0.46, 0)
A(unnamed_6f5da526_1_2, metal1, 1.71, -1.605, 0.46, 0.46, 3, 1, 0.46, 0)
R(unnamed_6f5da526_1_2, metal1, [(-4.26,-2.82,-3.85,-2.36), (-4.26,-2.82,-3.8,-2.41), (-3.85,-2.82,3.85,-2.36), (3.8,-2.82,4.26,-2.41), (3.85,-2.82,4.26,-2.36), (-4.26,-2.41,-3.8,2.41), (3.8,-2.41,4.26,2.41), (-0.25,-1.945,0.25,-1.445), (-4.26,-1.605,-2.63,-1.145), (-3.09,-1.605,-2.63,-0.905), (-2.17,-1.605,-1.71,-0.905), (1.71,-1.605,2.17,-0.905), (2.17,-1.605,4.26,-1.145), (2.63,-1.605,3.09,-0.905), (-3.09,-0.905,-2.63,0.395), (-2.17,-0.905,-1.71,0.395), (-0.69,-0.905,-0.23,0.395), (0.23,-0.905,0.69,0.395), (1.71,-0.905,2.17,0.395), (2.63,-0.905,3.09,0.395), (-0.71,-0.505,-0.21,-0.005), (-0.71,-0.505,-0.21,-0.005), (0.21,-0.505,0.71,-0.005), (0.21,-0.505,0.71,-0.005), (-3.09,-0.485,-2.63,-0.025), (-2.17,-0.485,-1.71,-0.025), (-0.69,-0.485,-0.23,-0.025), (0.23,-0.485,0.69,-0.025), (1.71,-0.485,2.17,-0.025), (2.63,-0.485,3.09,-0.025), (-0.69,0.395,-0.23,1.145), (0.23,0.395,0.69,1.945), (-0.71,0.645,-0.21,1.145), (0.21,1.445,0.71,1.945), (-4.26,2.36,-3.85,2.82), (-3.85,2.36,3.85,2.82), (3.85,2.36,4.26,2.82), (-4.26,2.41,-3.8,2.82), (3.8,2.41,4.26,2.82)])
R(unnamed_6f5da526_1_2, via1, [(-0.13,-1.825,0.13,-1.565), (-0.59,-0.385,-0.33,-0.125), (0.33,-0.385,0.59,-0.125), (-0.59,0.765,-0.33,1.025), (0.33,1.565,0.59,1.825)])
R(unnamed_6f5da526_1_2, metal2, [(-0.25,-1.945,0.25,-1.445), (-0.71,-0.905,-0.21,0.395), (0.21,-0.905,0.71,0.395), (-0.71,-0.505,-0.21,-0.005), (0.21,-0.505,0.71,-0.005), (-0.71,0.645,-0.21,1.145), (0.21,1.445,0.71,1.945)])
R(unnamed_6f5da526_1_2, via2, [(-0.13,-1.825,0.13,-1.565), (-0.59,0.765,-0.33,1.025), (0.33,1.565,0.59,1.825)])
R(unnamed_6f5da526_1_2, metal3, [(-0.25,-1.945,0.25,-1.445), (-0.25,-1.945,0.25,-1.445), (-0.71,0.645,-0.21,1.145), (-0.71,0.645,0.71,1.145), (-0.71,1.445,0.71,1.945), (0.21,1.445,0.71,1.945)])
R(unnamed_6f5da526_1_2, lvpwell, [(-4.49,-3.05,4.49,3.05)])

c_route_c792315c_10_1_2 = lib.new_cell('c_route_c792315c$10$1$2')
R(c_route_c792315c_10_1_2, metal3, [(-3.07,-9.05,-0.71,-8.55), (-3.07,-9.05,-2.51,-8.49), (-3.07,-9.05,-2.51,-2.245), (-3.07,-2.805,-2.51,-2.245), (-3.07,-2.745,-0.71,-2.245)])
P(c_route_c792315c_10_1_2, metal3, [(-2.51,-9.05),(-2.51,-8.49),(-2.51,-8.49),(-2.51,-9.05)],
  [(-2.51,-2.805),(-2.51,-2.245),(-2.51,-2.245),(-2.51,-2.805)])

c_route_eaf2b499_10_1_2 = lib.new_cell('c_route_eaf2b499$10$1$2')
R(c_route_eaf2b499_10_1_2, metal3, [(0.71,-8.25,3.07,-7.75), (2.51,-8.25,3.07,-7.69), (2.51,-8.25,3.07,-3.045), (2.51,-3.605,3.07,-3.045), (0.71,-3.545,3.07,-3.045)])
P(c_route_eaf2b499_10_1_2, metal3, [(3.07,-8.25),(3.07,-7.69),(3.07,-7.69),(3.07,-8.25)],
  [(3.07,-3.605),(3.07,-3.045),(3.07,-3.045),(3.07,-3.605)])

via_dev = lib.new_cell('via_dev')
R(via_dev, metal2, [(0,0,0.5,0.5)])
R(via_dev, via2, [(0.12,0.12,0.38,0.38)])
R(via_dev, metal3, [(0,0,0.5,0.5)])

via_dev_1 = lib.new_cell('via_dev$1')
R(via_dev_1, metal1, [(0,0,0.5,0.5)])
R(via_dev_1, via1, [(0.12,0.12,0.38,0.38)])
R(via_dev_1, metal2, [(0,0,0.5,0.5)])

cap_mim = lib.new_cell('cap_mim')
A(cap_mim, via4, 0.43, 0.43, 0.26, 0.26, 14, 14, 0.76, 0.76)
R(cap_mim, metal4, [(-0.6,-0.6,11.6,11.6)])
R(cap_mim, fusetop, [(0,0,11,11)])
R(cap_mim, metal5, [(0,0,11,11)])
R(cap_mim, cap_mk, [(-0.6,-0.6,11.6,11.6)])
R(cap_mim, L117_10, [(0,0,11,0.1)])

via_dev_6 = lib.new_cell('via_dev$6')
R(via_dev_6, via3, [(0.12,0.12,0.38,0.38)])
R(via_dev_6, metal3, [(0,0,0.5,0.5)])
R(via_dev_6, metal4, [(0,0,0.5,0.5)])

via_dev_7 = lib.new_cell('via_dev$7')
A(via_dev_7, via4, 0.365, 0.12, 0.26, 0.26, 18, 1, 0.53, 0)
R(via_dev_7, metal4, [(0,0,10,0.5)])
R(via_dev_7, metal5, [(0,0,10,0.5)])

capfb_m1 = lib.new_cell('capfb_m1')
R(capfb_m1, nwell, [(15.44,22.955,25.62,33.445), (13.64,49.645,27.42,64.275)])
R(capfb_m1, metal1, [(23.96,15.685,25.92,16.145), (11.58,20.865,17.64,21.325), (10.38,32.155,17.4,32.615), (23.66,32.155,30.68,32.615), (11.58,35.545,16.1,36.04), (14.33,35.545,18.36,45.795), (22.68,35.545,26.71,45.795), (14.31,39.445,19.84,42.445), (21.22,39.445,26.75,42.445), (14.33,50.335,18.36,63.585), (22.7,50.335,26.73,63.585), (14.33,53.685,19.84,59.685), (21.18,53.685,26.69,59.685), (10.38,63.08,15.68,63.585), (25.38,63.08,30.68,63.585)])
R(capfb_m1, metal2, [(12.78,14.955,13.28,48.015), (19.82,17.6,20.32,19.65), (11.58,20.865,12.08,36.04), (19.81,25.455,20.32,30.705), (20.28,31.245,20.78,34.695), (10.38,32.155,10.88,63.585), (30.18,32.155,30.68,63.585), (28.98,34.195,29.48,38.39), (19.36,38.695,19.86,42.445), (21.2,38.695,21.7,42.445), (19.36,53.685,19.86,60.435), (21.2,53.685,21.7,60.435)])
R(capfb_m1, metal3, [(12.78,14.955,20.78,15.455), (20.28,14.955,20.78,17.06), (20.28,16.56,20.78,17.06), (5.54,22.3,18.02,22.8), (20.28,31.245,21.69,31.745), (20.28,34.195,29.48,34.695), (19.84,42.945,21.22,53.185), (12.78,47.515,21.22,48.015)])
R(capfb_m1, metal4, [(29.48,14.55,41.68,17.45), (23.04,22.3,41.08,22.8)])
R(capfb_m1, metal5, [(29.48,14.55,44.03,15.36)])
R(capfb_m1, lvpwell, [(15.44,14.855,25.62,22.155)])
capfb_m1.add(gdstk.Reference(unnamed_2a73851a_1_2, (18.88,56.955)))
capfb_m1.add(gdstk.Reference(unnamed_f1af8ef3_1_2, (22.18,56.955), rotation=pi, x_reflection=True))
capfb_m1.add(gdstk.Reference(unnamed_ead98f9a_1_2, (18.88,40.665), x_reflection=True))
capfb_m1.add(gdstk.Reference(unnamed_11e8e328_1_2, (22.18,40.665), rotation=pi))
capfb_m1.add(gdstk.Reference(unnamed_a559eeb2_1_1_2, (20.53,56.955)))
capfb_m1.add(gdstk.Reference(unnamed_ba294454_1_1_2, (20.53,40.665)))
capfb_m1.add(gdstk.Reference(straight_route_bff6138e_, (18.88,56.955)))
capfb_m1.add(gdstk.Reference(c_route_7e4f65a3_1_1_2, (18.88,56.955)))
capfb_m1.add(gdstk.Reference(straight_route_e266139e_, (18.88,56.955)))
capfb_m1.add(gdstk.Reference(straight_route_f31ed6b7_, (18.88,56.955)))
capfb_m1.add(gdstk.Reference(unnamed_5acb1a93_1_2, (20.53,28.2), x_reflection=True))
capfb_m1.add(gdstk.Reference(unnamed_6f5da526_1_2, (20.53,18.505)))
capfb_m1.add(gdstk.Reference(c_route_c792315c_10_1_2, (20.53,28.2)))
capfb_m1.add(gdstk.Reference(c_route_eaf2b499_10_1_2, (20.53,28.2)))
capfb_m1.add(gdstk.Reference(via_dev, (20.28,34.195)))
capfb_m1.add(gdstk.Reference(via_dev, (28.98,34.195)))
capfb_m1.add(gdstk.Reference(via_dev_1, (30.18,32.155)))
capfb_m1.add(gdstk.Reference(via_dev_1, (30.18,63.085)))
capfb_m1.add(gdstk.Reference(via_dev_1, (10.88,32.155), rotation=pi, x_reflection=True))
capfb_m1.add(gdstk.Reference(via_dev_1, (10.88,63.085), rotation=pi, x_reflection=True))
capfb_m1.add(gdstk.Reference(via_dev_1, (12.08,35.535), rotation=pi, x_reflection=True))
capfb_m1.add(gdstk.Reference(via_dev_1, (12.08,20.865), rotation=pi, x_reflection=True))
capfb_m1.add(gdstk.Reference(via_dev, (13.28,14.955), rotation=pi, x_reflection=True))
capfb_m1.add(gdstk.Reference(via_dev, (13.28,47.515), rotation=pi, x_reflection=True))
capfb_m1.add(gdstk.Reference(cap_mim, (30.08,15.96)))
capfb_m1.add(gdstk.Reference(via_dev_6, (23.07,22.3)))
capfb_m1.add(gdstk.Reference(via_dev_7, (30.58,14.86)))
capfb_m1.add(gdstk.Label('VSS', (25.8,15.94), layer=34, texttype=10))
capfb_m1.add(gdstk.Label('VDD3V3', (25.61,61.79), layer=34, texttype=10))
capfb_m1.add(gdstk.Label('clk', (14.49,15.1), layer=42, texttype=10))
capfb_m1.add(gdstk.Label('in', (17.76,22.53), layer=42, texttype=10))
capfb_m1.add(gdstk.Label('clkb', (21.27,31.44), layer=42, texttype=10))
capfb_m1.add(gdstk.Label('out', (42.61,15.07), layer=81, texttype=10))

lib.write_gds('capfb_m1.gds')
